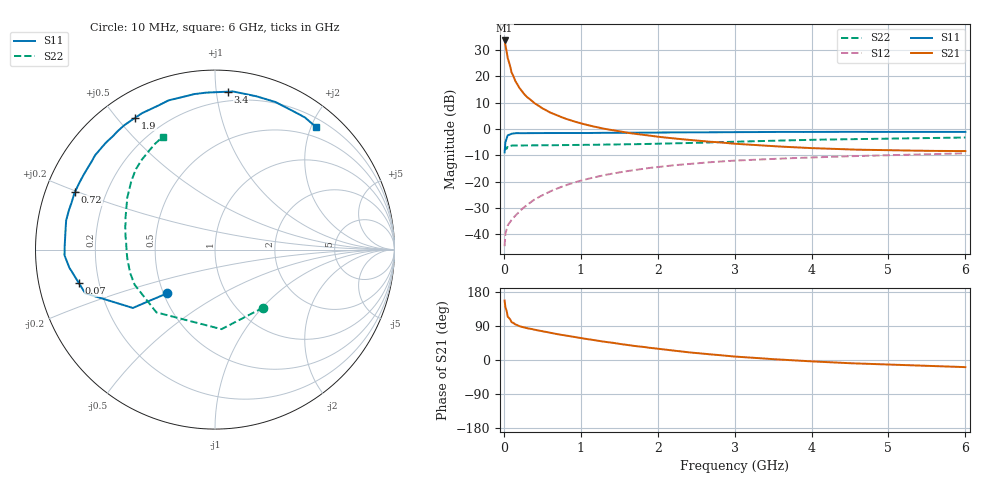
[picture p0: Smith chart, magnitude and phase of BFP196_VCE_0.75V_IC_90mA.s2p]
! Infineon Technologies  Discrete & RF Semiconductors
! BFP196
! VCE = 0.75V,  IC =  90mA
! Common Emitter S-Parameters:  Jan 2016
# GHz  S  MA  R  50
!  f  S11  S21  S12  S22
! GHz  MAG  ANG  MAG  ANG  MAG  ANG  MAG  ANG
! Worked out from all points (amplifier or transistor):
!   210 points, 10 MHz to 6 GHz, reference 50 ohm
!   highest |S21| = 33.7 dB at 10 MHz (marker M1)
!   |S21| within 3 dB of that: start of sweep to 28.73 MHz
!   unconditionally stable (mu >= 1): start of sweep to 14.97 MHz; 173.4 MHz to end of sweep
!   at 185 MHz: K = 1.03, MAG = 23.1 dB, |S12| = -31.8 dB
!   at 1.52 GHz: K = 1.21, MAG = 4.9 dB, |S12| = -16.3 dB
!   at 6 GHz: K = 1.09, MAG = -1.4 dB, |S12| = -9.2 dB
!   S11 on the Smith chart (normalised r, x): 10 MHz: 0.52, -0.29; 70 MHz: 0.12, -0.12; 720 MHz: 0.09, +0.20; 1.9 GHz: 0.10, +0.56; 3.4 GHz: 0.14, +1.07; 6 GHz: 0.33, +2.08
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0.01  0.3616 -137.6  48.19 157.0  0.006 60.8  0.4205 -50.1
0.02  0.5613 -144.6  39.66 139.3  0.0103 54.2  0.4448 -85.3
0.05  0.7631 -161.4  22.38 114.2  0.0148 41.0  0.4784 -133.0
0.07  0.7812 -166.2  18.11 110.5  0.0164 43.0  0.4729 -142.5
0.1  0.8182 -173.0  11.97 100.0  0.0189 45.4  0.4888 -156.4
0.15  0.8392 -177.9  8.135 93.8  0.0228 50.3  0.4904 -164.8
0.2  0.8376 178.4  6.123 89.5  0.0269 55.9  0.4892 -169.3
0.24  0.8373 176.0  5.123 87.2  0.0307 58.6  0.4908 -171.9
0.3  0.839 173.5  4.078 84.1  0.0361 61.0  0.4908 -174.4
0.4  0.8451 168.9  3.095 79.7  0.0462 63.9  0.4919 -177.4
0.5  0.8439 165.7  2.484 75.9  0.0554 64.7  0.493 -179.6
0.6  0.8409 161.8  2.075 71.9  0.0655 64.9  0.4943 178.6
0.72  0.8438 157.6  1.753 67.3  0.0772 64.1  0.496 176.8
1.02  0.8429 147.4  1.266 57.3  0.1069 60.9  0.5016 172.8
1.3  0.8497 138.5  1.019 48.4  0.1335 56.6  0.508 169.3
1.9  0.8587 121.1  0.75 32.1  0.1837 46.5  0.5255 162.0
2.02  0.8616 117.7  0.713 29.4  0.1922 44.3  0.5296 160.2
3.1  0.8761 91.2  0.517 7.8  0.2563 26.6  0.5799 145.8
3.4  0.8825 85.4  0.484 3.7  0.2689 22.1  0.5961 142.0
4.1  0.8844 73.5  0.431 -4.5  0.2928 13.0  0.6308 133.7
5.1  0.886 60.4  0.396 -12.8  0.3224 1.7  0.6627 123.5
6  0.885 50.4  0.383 -18.8  0.347 -8.4  0.6931 114.8
